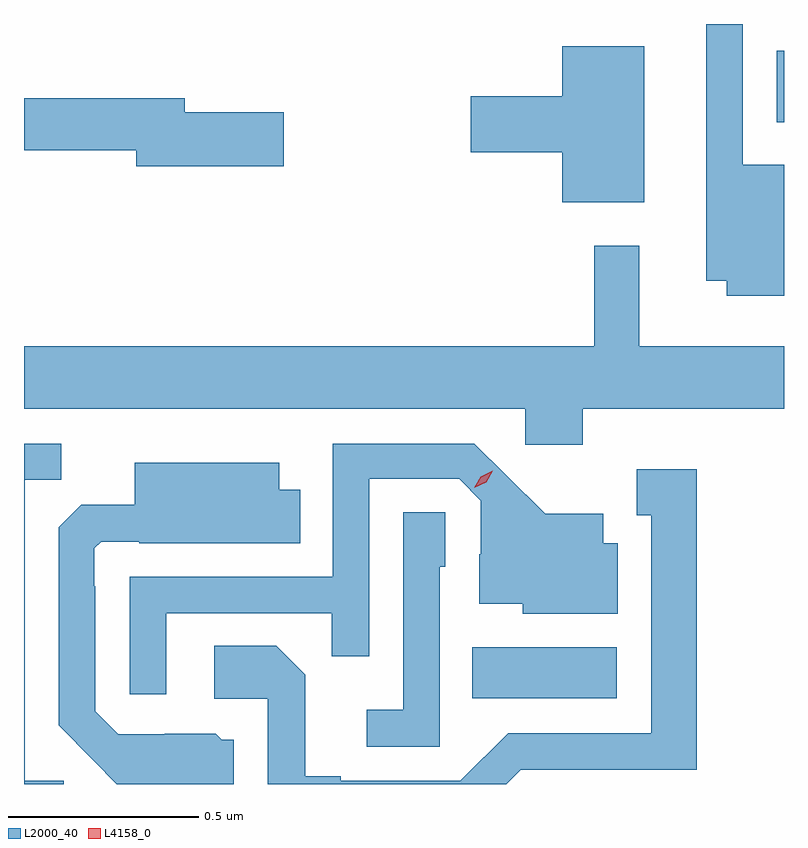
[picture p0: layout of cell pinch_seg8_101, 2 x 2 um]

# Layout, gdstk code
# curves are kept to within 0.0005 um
import gdstk
lib = gdstk.Library(unit=1e-6, precision=1e-09)
def R(c, l, rs):  # rectangles x0, y0, x1, y1
    for r in rs: c.add(gdstk.rectangle(r[:2], r[2:], *l))
def P(c, l, *ps):  # polygons
    for p in ps: c.add(gdstk.Polygon(p, *l))
L2000_40 = (2000, 40)
L4158_0 = (4158, 0)

pinch_seg8_101 = lib.new_cell('pinch_seg8_101')
R(pinch_seg8_101, L2000_40, [(1044.46,1102.418,1044.841,1102.552), (1045.262,1103.933,1045.281,1104.121)])
P(pinch_seg8_101, L2000_40, [(1045.281,1103.821),(1045.173,1103.821),(1045.173,1104.192),(1045.076,1104.192),(1045.076,1103.516),(1045.13,1103.516),(1045.13,1103.477),(1045.281,1103.477)],
  [(1044.913,1104.133),(1044.698,1104.133),(1044.698,1104.002),(1044.456,1104.002),(1044.456,1103.855),(1044.698,1103.855),(1044.698,1103.723),(1044.913,1103.723)],
  [(1043.965,1103.96),(1043.704,1103.96),(1043.704,1103.996),(1043.281,1103.996),(1043.281,1103.86),(1043.576,1103.86),(1043.576,1103.818),(1043.965,1103.818)],
  [(1044.752,1103.18),(1045.281,1103.18),(1045.281,1103.344),(1044.9,1103.344),(1044.9,1103.608),(1044.781,1103.608),(1044.781,1103.344),(1043.281,1103.344),(1043.281,1103.18),(1044.6,1103.18),(1044.6,1103.085),(1044.752,1103.085)],
  [(1043.386,1102.2),(1043.283,1102.2),(1043.283,1102.993),(1043.379,1102.993),(1043.379,1103.088),(1043.281,1103.088),(1043.281,1102.192),(1043.386,1102.192)],
  [(1043.655,1102.641),(1044.091,1102.641),(1044.091,1102.528),(1044.189,1102.528),(1044.189,1102.995),(1044.426,1102.995),(1044.483,1102.938),(1044.483,1102.796),(1044.479,1102.796),(1044.479,1102.667),(1044.594,1102.667),(1044.594,1102.64),(1044.844,1102.64),(1044.844,1102.825),(1044.805,1102.825),(1044.805,1102.903),(1044.653,1102.903),(1044.466,1103.088),(1044.093,1103.088),(1044.093,1102.737),(1043.559,1102.737),(1043.559,1102.428),(1043.655,1102.428)],
  [(1043.833,1102.308),(1043.802,1102.308),(1043.786,1102.324),(1043.652,1102.324),(1043.652,1102.323),(1043.529,1102.323),(1043.469,1102.383),(1043.469,1102.712),(1043.466,1102.712),(1043.466,1102.812),(1043.484,1102.83),(1043.584,1102.83),(1043.584,1102.826),(1044.008,1102.826),(1044.008,1102.966),(1043.953,1102.966),(1043.953,1103.038),(1043.573,1103.038),(1043.573,1102.927),(1043.432,1102.927),(1043.373,1102.868),(1043.373,1102.346),(1043.525,1102.192),(1043.833,1102.192)],
  [(1044.588,1102.23),(1044.81,1102.23),(1044.81,1102.229),(1045.051,1102.229),(1045.051,1103.02),(1044.893,1103.02),(1044.893,1102.899),(1044.932,1102.899),(1044.932,1102.326),(1044.555,1102.326),(1044.429,1102.2),(1044.115,1102.2),(1044.115,1102.213),(1044.021,1102.213),(1044.021,1102.48),(1043.945,1102.556),(1043.781,1102.556),(1043.781,1102.416),(1043.922,1102.416),(1043.922,1102.192),(1044.55,1102.192)],
  [(1044.375,1102.764),(1044.39,1102.764),(1044.39,1102.907),(1044.279,1102.907),(1044.279,1102.387),(1044.183,1102.387),(1044.183,1102.29),(1044.375,1102.29)])
P(pinch_seg8_101, L4158_0, [(1044.466,1102.971),(1044.466,1102.971),(1044.483,1103.001),(1044.514,1103.016),(1044.514,1103.016),(1044.514,1103.016),(1044.497,1102.986),(1044.466,1102.971)])

lib.write_gds('pinch_seg8_101.gds')
